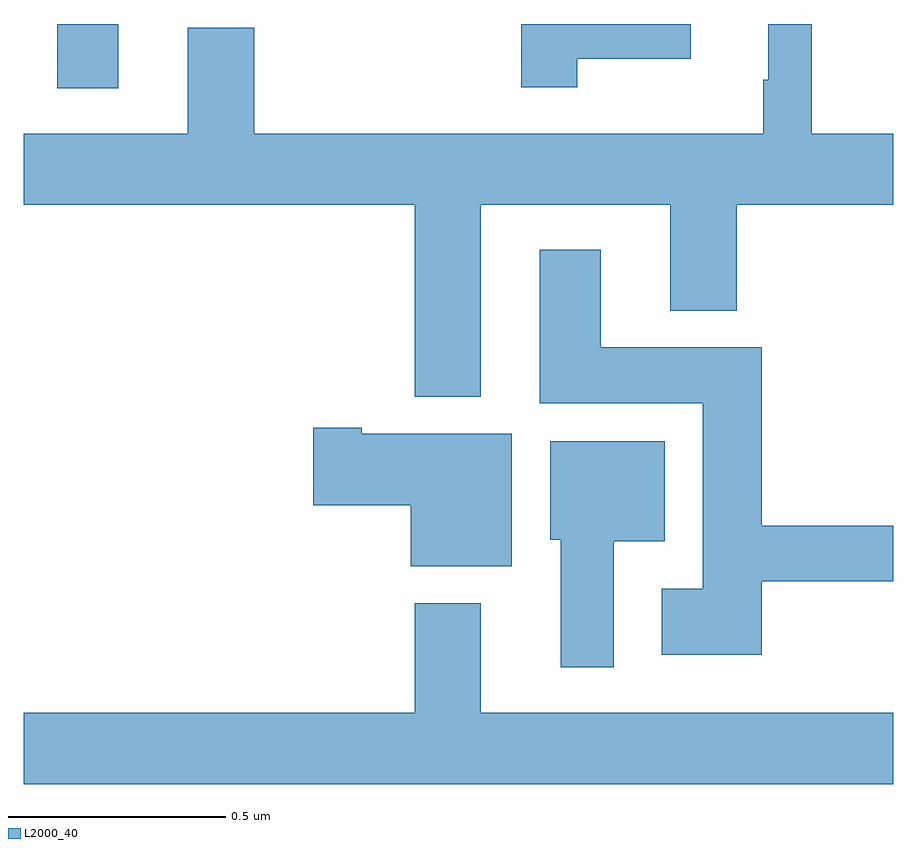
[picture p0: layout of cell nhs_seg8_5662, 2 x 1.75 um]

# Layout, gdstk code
import gdstk
lib = gdstk.Library(unit=1e-6, precision=1e-09)
def R(c, l, rs):  # rectangles x0, y0, x1, y1
    for r in rs: c.add(gdstk.rectangle(r[:2], r[2:], *l))
def P(c, l, *ps):  # polygons
    for p in ps: c.add(gdstk.Polygon(p, *l))
L2000_40 = (2000, 40)

nhs_seg8_5662 = lib.new_cell('nhs_seg8_5662')
R(nhs_seg8_5662, L2000_40, [(186.077,1132.752,186.217,1132.9)])
P(nhs_seg8_5662, L2000_40, [(187.051,1132.484),(187.487,1132.484),(187.487,1132.241),(187.64,1132.241),(187.64,1132.484),(188,1132.484),(188,1132.648),(187.812,1132.648),(187.812,1132.9),(187.712,1132.9),(187.712,1132.772),(187.701,1132.772),(187.701,1132.648),(186.53,1132.648),(186.53,1132.891),(186.377,1132.891),(186.377,1132.648),(186,1132.648),(186,1132.484),(186.899,1132.484),(186.899,1132.043),(187.051,1132.043)],
  [(187.273,1132.82),(187.534,1132.82),(187.534,1132.9),(187.144,1132.9),(187.144,1132.755),(187.273,1132.755)],
  [(187.697,1131.618),(188,1131.618),(188,1131.746),(187.697,1131.746),(187.697,1132.156),(187.327,1132.156),(187.327,1132.381),(187.187,1132.381),(187.187,1132.028),(187.562,1132.028),(187.562,1131.601),(187.467,1131.601),(187.467,1131.449),(187.697,1131.449)],
  [(187.123,1131.958),(186.778,1131.958),(186.778,1131.971),(186.666,1131.971),(186.666,1131.793),(186.89,1131.793),(186.89,1131.653),(187.123,1131.653)],
  [(187.357,1131.71),(187.474,1131.71),(187.474,1131.94),(187.211,1131.94),(187.211,1131.714),(187.235,1131.714),(187.235,1131.42),(187.357,1131.42)],
  [(188,1131.316),(187.051,1131.316),(187.051,1131.568),(186.899,1131.568),(186.899,1131.316),(186,1131.316),(186,1131.152),(188,1131.152)])

lib.write_gds('nhs_seg8_5662.gds')
